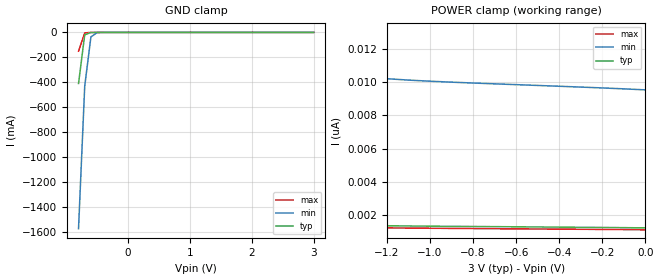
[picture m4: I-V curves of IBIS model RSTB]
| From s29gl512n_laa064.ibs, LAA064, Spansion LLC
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[Model]   RSTB
Model_type Input
Vinh=2.1
Vinl=0.9
C_comp   8.0pF   8.0pF   8.0pF
[Temperature Range] 27   100   0
[Voltage Range]   3.0   2.7   3.6
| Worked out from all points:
|   GND clamp passes 1 mA (typ) near -0.60 V on its own axis
[GND Clamp]
-800mV    -409.6mA   -1.574A    -149.9mA
-700mV    -19.52mA   -430.9mA   -3.96mA
-600mV    -698.7uA   -36.48mA   -319.2uA
-500mV    -68.13uA   -1.913mA   -71.62uA
-400mV    -13.43uA   -124.5uA   -15.88uA
3V        1.203nA    9.715nA    1.03nA
[POWER Clamp]
-3V       738.2nA    541.5nA    1.322uA
-2.3V     18.15nA    35.4nA     26.96nA
-2.2V     10.59nA    25.96nA    14.2nA
-2.1V     6.463nA    20.09nA    7.814nA
-2V       4.183nA    16.42nA    4.589nA
-1.9V     2.913nA    14.11nA    2.943nA
-1.8V     2.202nA    12.65nA    2.097nA
-1.7V     1.805nA    11.72nA    1.66nA
-1.6V     1.584nA    11.13nA    1.434nA
-1.5V     1.462nA    10.75nA    1.316nA
-1.3V     1.356nA    10.34nA    1.222nA
0V        1.203nA    9.546nA    1.086nA
